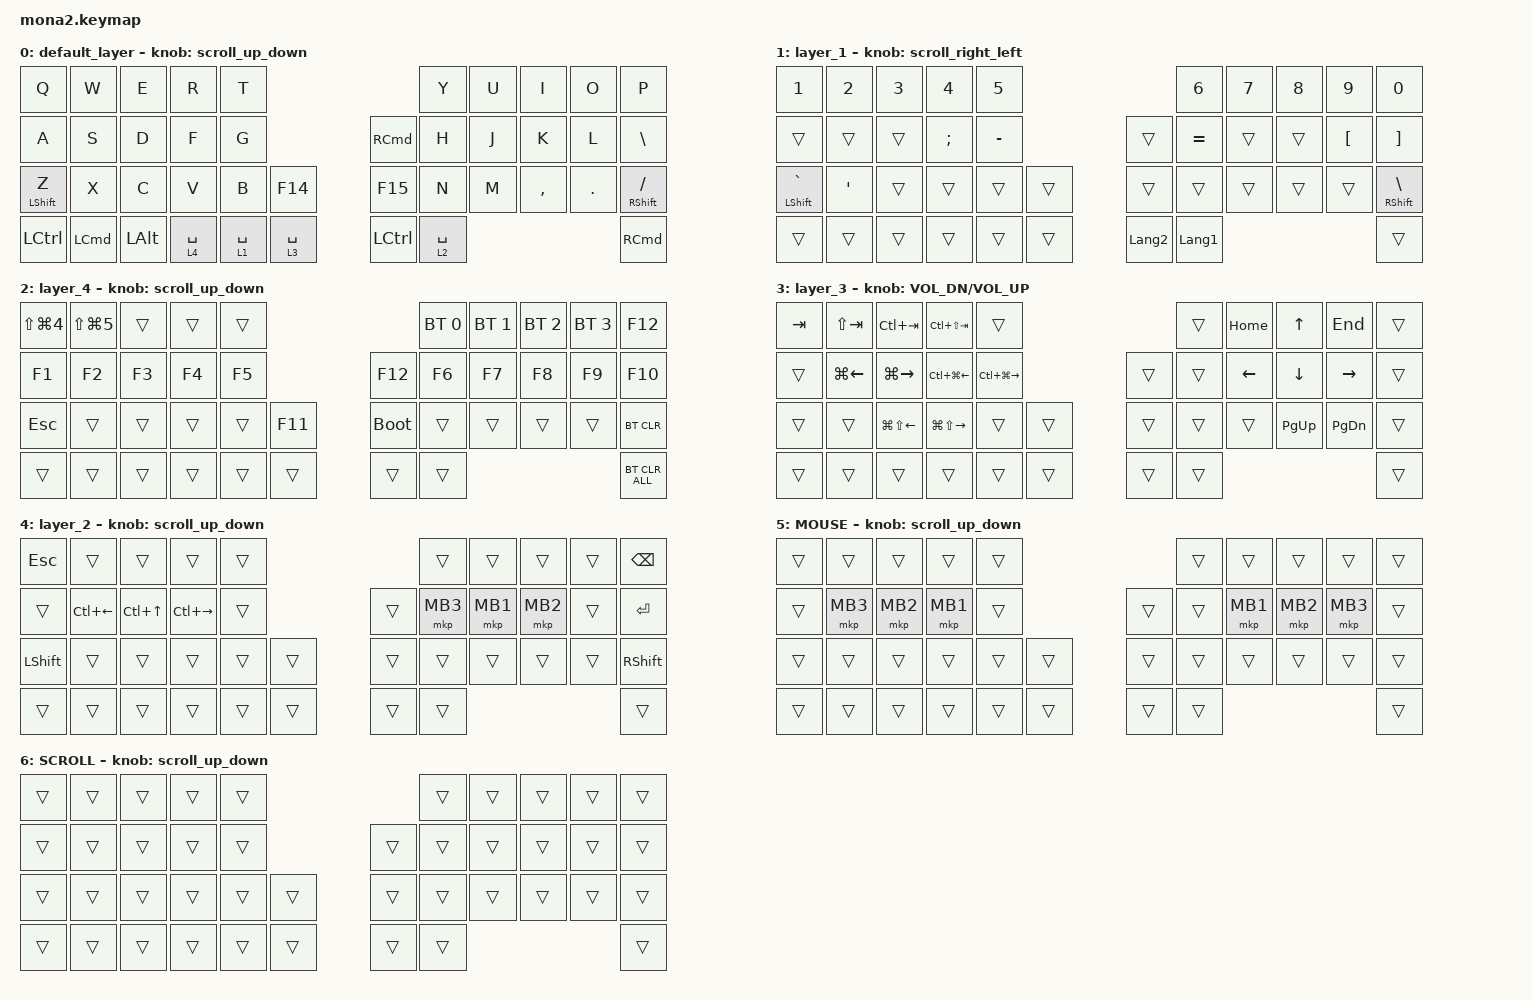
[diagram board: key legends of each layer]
#include <input/processors.dtsi>
#include <dt-bindings/zmk/input_transform.h>
#include <zephyr/dt-bindings/input/input-event-codes.h>
#include <behaviors.dtsi>
#include <dt-bindings/zmk/bt.h>
#include <dt-bindings/zmk/keys.h>
#include <dt-bindings/zmk/pointing.h>

#define ZMK_POINTING_DEFAULT_SCRL_VAL 100
#define MOUSE 5
#define SCROLL 6

&mt {
    flavor = "balanced";
    quick-tap-ms = <0>;
};

&lt {
    quick-tap-ms = <300>;
    flavor = "balanced";
};

/ {
    combos {
        compatible = "zmk,combos";

        layer4_ESC {
            bindings = <&lt 2 ESC>;
            key-positions = <39 38>;
        };

        tab {
            bindings = <&kp TAB>;
            key-positions = <11 12>;
        };
    };

    macros {
        to_layer_0: to_layer_0 {
            compatible = "zmk,behavior-macro-one-param";
            #binding-cells = <1>;
            bindings = <&to 0 &macro_param_1to1 &kp MACRO_PLACEHOLDER>;
            label = "TO_LAYER_0";
        };
    };

    behaviors {
        lt_to_layer_0: lt_to_layer_0 {
            compatible = "zmk,behavior-hold-tap";
            label = "LAYER_TAP_TO_0";
            bindings = <&mo>, <&to_layer_0>;

            #binding-cells = <2>;
            tapping-term-ms = <200>;
        };

        scroll_up_down: mouse_wheel_up_down {
            compatible = "zmk,behavior-sensor-rotate";
            #sensor-binding-cells = <0>;
            bindings = <&msc SCRL_DOWN>, <&msc SCRL_UP>;

            tap-ms = <20>;
        };

        scroll_right_left: mouse_wheel_right_left {
            compatible = "zmk,behavior-sensor-rotate";
            #sensor-binding-cells = <0>;
            bindings = <&msc SCRL_LEFT>, <&msc SCRL_RIGHT>;

            tap-ms = <20>;
        };
    };

    keymap {
        compatible = "zmk,keymap";

        default_layer {
            bindings = <
&kp Q             &kp W             &kp E         &kp R        &kp T                                          &kp Y        &kp U  &kp I      &kp O    &kp P
&kp A             &kp S             &kp D         &kp F        &kp G                       &kp RIGHT_COMMAND  &kp H        &kp J  &kp K      &kp L    &kp BACKSLASH
&mt LEFT_SHIFT Z  &kp X             &kp C         &kp V        &kp B        &kp F14        &kp F15            &kp N        &kp M  &kp COMMA  &kp DOT  &mt RIGHT_SHIFT SLASH
&kp LCTRL         &kp LEFT_COMMAND  &kp LEFT_ALT  &lt 4 SPACE  &lt 1 SPACE  &lt 3 SPACE    &kp LCTRL          &lt 2 SPACE                             &kp RIGHT_COMMAND
            >;

            sensor-bindings = <&scroll_up_down>;
        };

        layer_1 {
            bindings = <
&kp NUMBER_1          &kp NUMBER_2  &kp NUMBER_3  &kp NUMBER_4   &kp NUMBER_5                            &kp NUMBER_6    &kp NUMBER_7  &kp NUMBER_8  &kp NUMBER_9      &kp NUMBER_0
&trans                &trans        &trans        &kp SEMICOLON  &kp MINUS               &trans          &kp EQUAL       &trans        &trans        &kp LEFT_BRACKET  &kp RIGHT_BRACKET
&mt LEFT_SHIFT GRAVE  &kp SQT       &trans        &trans         &trans        &trans    &trans          &trans          &trans        &trans        &trans            &mt RIGHT_SHIFT BACKSLASH
&trans                &trans        &trans        &trans         &trans        &trans    &kp LANGUAGE_2  &kp LANGUAGE_1                                                &trans
            >;

            sensor-bindings = <&scroll_right_left>;
        };

        layer_4 {
            bindings = <
&kp LS(LG(NUMBER_4))  &kp LS(LG(NUMBER_5))  &trans  &trans  &trans                          &bt BT_SEL 0  &bt BT_SEL 1  &bt BT_SEL 2  &bt BT_SEL 3  &kp F12
&kp F1                &kp F2                &kp F3  &kp F4  &kp F5             &kp F12      &kp F6        &kp F7        &kp F8        &kp F9        &kp F10
&kp ESC               &trans                &trans  &trans  &trans  &kp F11    &bootloader  &trans        &trans        &trans        &trans        &bt BT_CLR
&trans                &trans                &trans  &trans  &trans  &trans     &trans       &trans                                                  &bt BT_CLR_ALL
            >;

            sensor-bindings = <&scroll_up_down>;
        };

        layer_3 {
            bindings = <
&kp TAB  &kp LS(TAB)         &kp LC(TAB)             &kp LC(LS(TAB))          &trans                                     &trans  &kp HOME        &kp UP_ARROW    &kp END          &trans
&trans   &kp LG(LEFT_ARROW)  &kp LG(RIGHT_ARROW)     &kp LC(LG(LEFT_ARROW))   &kp LC(LG(RIGHT_ARROW))            &trans  &trans  &kp LEFT_ARROW  &kp DOWN_ARROW  &kp RIGHT_ARROW  &trans
&trans   &trans              &kp LG(LS(LEFT_ARROW))  &kp LG(LS(RIGHT_ARROW))  &trans                   &trans    &trans  &trans  &trans          &kp PAGE_UP     &kp PAGE_DOWN    &trans
&trans   &trans              &trans                  &trans                   &trans                   &trans    &trans  &trans                                                   &trans
            >;

            sensor-bindings = <&inc_dec_kp C_VOL_DN C_VOL_UP>;
        };

        layer_2 {
            bindings = <
&kp ESCAPE      &trans              &trans            &trans               &trans                    &trans    &trans    &trans    &trans  &kp BACKSPACE
&trans          &kp LC(LEFT_ARROW)  &kp LC(UP_ARROW)  &kp LC(RIGHT_ARROW)  &trans            &trans  &mkp MB3  &mkp MB1  &mkp MB2  &trans  &kp ENTER
&kp LEFT_SHIFT  &trans              &trans            &trans               &trans  &trans    &trans  &trans    &trans    &trans    &trans  &kp RIGHT_SHIFT
&trans          &trans              &trans            &trans               &trans  &trans    &trans  &trans                                &trans
            >;

            sensor-bindings = <&scroll_up_down>;
        };

        MOUSE {
            bindings = <
&trans  &trans    &trans    &trans    &trans                    &trans  &trans    &trans    &trans    &trans
&trans  &mkp MB3  &mkp MB2  &mkp MB1  &trans            &trans  &trans  &mkp MB1  &mkp MB2  &mkp MB3  &trans
&trans  &trans    &trans    &trans    &trans  &trans    &trans  &trans  &trans    &trans    &trans    &trans
&trans  &trans    &trans    &trans    &trans  &trans    &trans  &trans                                &trans
            >;

            sensor-bindings = <&scroll_up_down>;
        };

        SCROLL {
            bindings = <
&trans  &trans  &trans  &trans  &trans                    &trans  &trans  &trans  &trans  &trans
&trans  &trans  &trans  &trans  &trans            &trans  &trans  &trans  &trans  &trans  &trans
&trans  &trans  &trans  &trans  &trans  &trans    &trans  &trans  &trans  &trans  &trans  &trans
&trans  &trans  &trans  &trans  &trans  &trans    &trans  &trans                          &trans
            >;

            sensor-bindings = <&scroll_up_down>;
        };
    };
};
